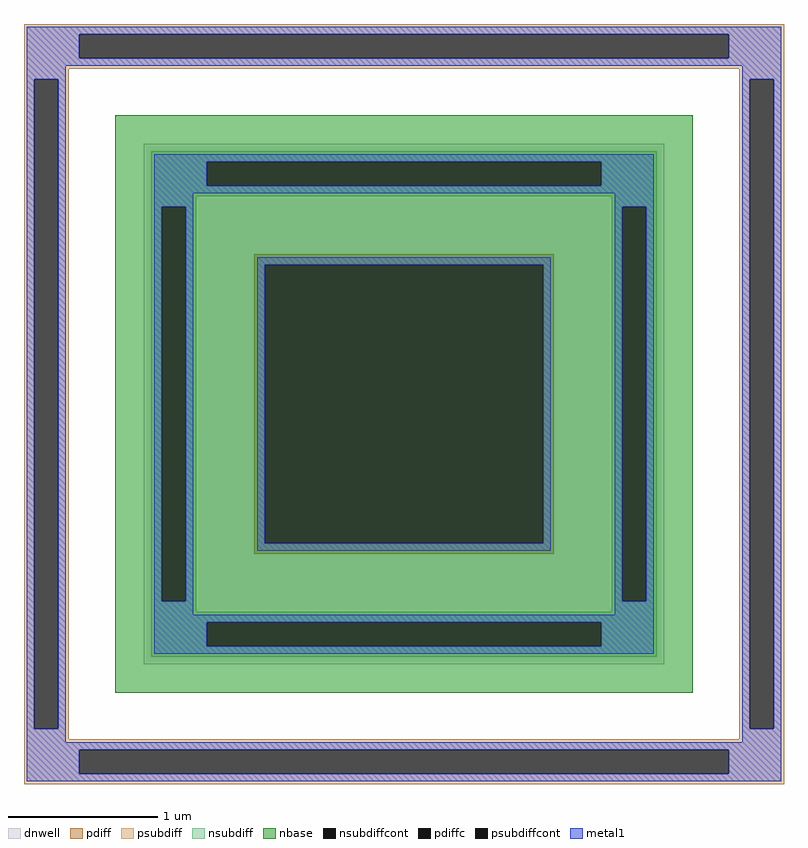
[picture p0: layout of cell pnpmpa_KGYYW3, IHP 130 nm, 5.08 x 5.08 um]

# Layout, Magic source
magic
tech ihp-sg13g2
<< dnwell >>
rect -174 -174 174 174
<< nbase >>
rect -193 -193 193 193
<< pdiff >>
rect -100 93 100 100
rect -100 -93 -93 93
rect 93 -93 100 93
rect -100 -100 100 -93
<< pdiffc >>
rect -93 -93 93 93
<< psubdiff >>
rect -254 247 254 254
rect -254 231 -217 247
rect 217 231 254 247
rect -254 224 254 231
rect -254 217 -224 224
rect -254 -217 -247 217
rect -231 -217 -224 217
rect 224 217 254 224
rect -254 -224 -224 -217
rect 224 -217 231 217
rect 247 -217 254 217
rect 224 -224 254 -217
rect -254 -231 254 -224
rect -254 -247 -217 -231
rect 217 -247 254 -231
rect -254 -254 254 -247
<< nsubdiff >>
rect -169 162 169 169
rect -169 146 -132 162
rect 132 146 169 162
rect -169 139 169 146
rect -169 132 -139 139
rect -169 -132 -162 132
rect -146 -132 -139 132
rect 139 132 169 139
rect -169 -139 -139 -132
rect 139 -132 146 132
rect 162 -132 169 132
rect 139 -139 169 -132
rect -169 -146 169 -139
rect -169 -162 -132 -146
rect 132 -162 169 -146
rect -169 -169 169 -162
<< psubdiffcont >>
rect -217 231 217 247
rect -247 -217 -231 217
rect 231 -217 247 217
rect -217 -247 217 -231
<< nsubdiffcont >>
rect -132 146 132 162
rect -162 -132 -146 132
rect 146 -132 162 132
rect -132 -162 132 -146
<< metal1 >>
rect -252 247 252 252
rect -252 231 -217 247
rect 217 231 252 247
rect -252 226 252 231
rect -252 217 -226 226
rect -252 -217 -247 217
rect -231 -217 -226 217
rect 226 217 252 226
rect -167 162 167 167
rect -167 146 -132 162
rect 132 146 167 162
rect -167 141 167 146
rect -167 132 -141 141
rect -167 -132 -162 132
rect -146 -132 -141 132
rect 141 132 167 141
rect -98 93 98 98
rect -98 -93 -93 93
rect 93 -93 98 93
rect -98 -98 98 -93
rect -167 -141 -141 -132
rect 141 -132 146 132
rect 162 -132 167 132
rect 141 -141 167 -132
rect -167 -146 167 -141
rect -167 -162 -132 -146
rect 132 -162 167 -146
rect -167 -167 167 -162
rect -252 -226 -226 -217
rect 226 -217 231 217
rect 247 -217 252 217
rect 226 -226 252 -217
rect -252 -231 252 -226
rect -252 -247 -217 -231
rect 217 -247 252 -231
rect -252 -252 252 -247
<< properties >>
string gencell pnpmpa
string library sg13g2_devstdin
string parameters w 2 l 2 nx 1 dx 0.18 ny 1 dy 0.18 wmin 0.50 lmin 0.50 class bjt glc 0 grc 0 gtc 0 gbc 0
<< end >>
